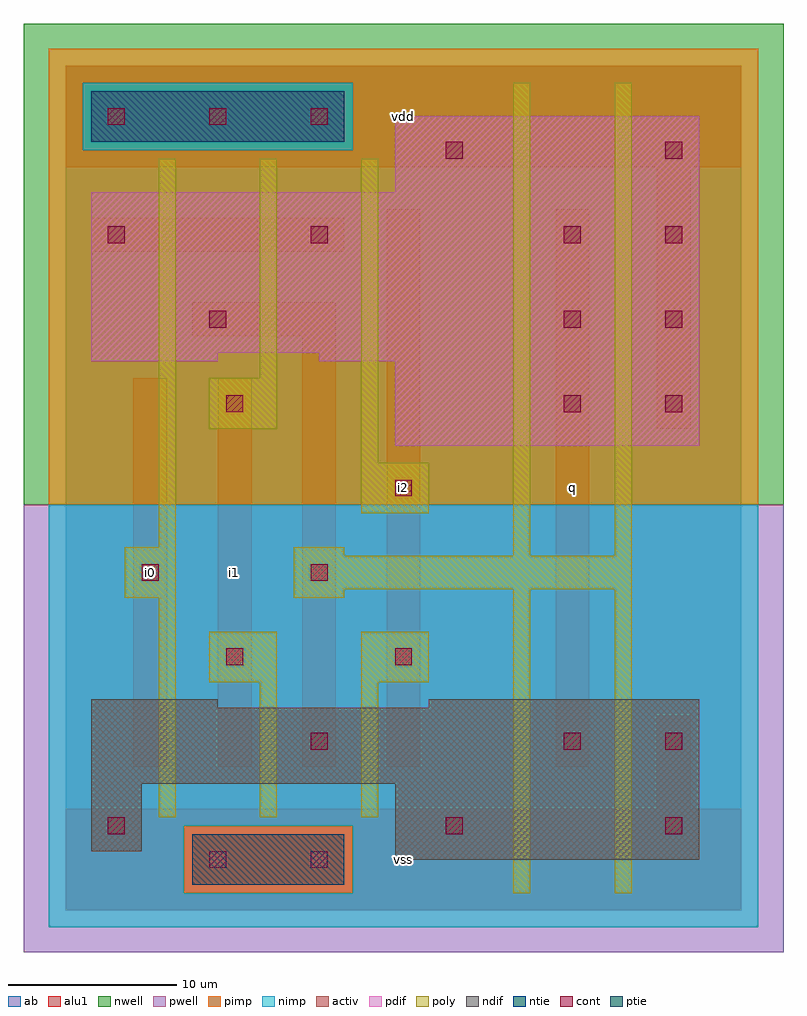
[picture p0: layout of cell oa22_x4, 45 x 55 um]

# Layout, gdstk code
import gdstk
lib = gdstk.Library(unit=1e-6, precision=1e-09)
def R(c, l, rs):  # rectangles x0, y0, x1, y1
    for r in rs: c.add(gdstk.rectangle(r[:2], r[2:], *l))
def A(c, l, x, y, w, h, nx, ny, dx, dy):  # array of equal rectangles
    R(c, l, [(x+i*dx, y+j*dy, x+i*dx+w, y+j*dy+h) for i in range(nx) for j in range(ny)])
ndif = (3, 0)
pdif = (4, 0)
ntie = (5, 0)
ptie = (6, 0)
cont = (25, 0)
pwell = (41, 0)
nwell = (42, 0)
activ = (43, 0)
pimp = (44, 0)
nimp = (45, 0)
poly = (46, 0)
alu1 = (49, 0)
ab = (63, 0)

oa22_x4 = lib.new_cell('oa22_x4')
R(oa22_x4, ndif, [(19.5,3,37.5,7.5), (1.5,3.5,4.5,7.5), (1.5,7.5,37.5,12), (1.5,12,9,12.5), (21.5,12,37.5,12.5)])
R(oa22_x4, pdif, [(19.5,27.5,37.5,32.5), (1.5,32.5,9,33), (15,32.5,37.5,33), (1.5,33,37.5,42.5), (19.5,42.5,37.5,47)])
R(oa22_x4, ntie, [(1.5,45.5,16.5,48.5)])
R(oa22_x4, ptie, [(7.5,1.5,16.5,4.5)])
A(oa22_x4, cont, 29.5, 29.5, 1, 1, 1, 3, 0, 5)
A(oa22_x4, cont, 35.5, 29.5, 1, 1, 1, 4, 0, 5)
A(oa22_x4, cont, 2.5, 46.5, 1, 1, 3, 1, 6, 0)
R(oa22_x4, cont, [(8.5,2.5,9.5,3.5), (14.5,2.5,15.5,3.5), (2.5,4.5,3.5,5.5), (22.5,4.5,23.5,5.5), (35.5,4.5,36.5,5.5), (14.5,9.5,15.5,10.5), (29.5,9.5,30.5,10.5), (35.5,9.5,36.5,10.5), (9.5,14.5,10.5,15.5), (19.5,14.5,20.5,15.5), (4.5,19.5,5.5,20.5), (14.5,19.5,15.5,20.5), (19.5,24.5,20.5,25.5), (9.5,29.5,10.5,30.5), (8.5,34.5,9.5,35.5), (2.5,39.5,3.5,40.5), (14.5,39.5,15.5,40.5), (22.5,44.5,23.5,45.5)])
R(oa22_x4, pwell, [(-2.5,-2.5,42.5,24)])
R(oa22_x4, nwell, [(-2.5,24,42.5,52.5)])
R(oa22_x4, activ, [(7.5,1.5,16.5,4.5), (19.5,3,37.5,7.5), (1.5,3.5,4.5,7.5), (1.5,7.5,37.5,12), (1.5,12,9,12.5), (21.5,12,37.5,12.5), (19.5,27.5,37.5,32.5), (1.5,32.5,9,33), (15,32.5,37.5,33), (1.5,33,37.5,42.5), (19.5,42.5,37.5,47), (1.5,45.5,16.5,48.5)])
R(oa22_x4, pimp, [(7,1,17,5), (-1,24,41,45), (-1,45,1,49), (17,45,41,49), (-1,49,41,51)])
R(oa22_x4, nimp, [(-1,-1,41,1), (-1,1,7,5), (17,1,41,5), (-1,5,41,24), (1,45,17,49)])
R(oa22_x4, poly, [(26.5,1,27.5,19), (32.5,1,33.5,19), (5.5,5.5,6.5,18.5), (11.5,5.5,12.5,13.5), (17.5,5.5,18.5,13.5), (8.5,13.5,12.5,16.5), (17.5,13.5,21.5,16.5), (3.5,18.5,6.5,21.5), (13.5,18.5,16.5,19), (13.5,19,33.5,21), (13.5,21,16.5,21.5), (26.5,21,27.5,49), (32.5,21,33.5,49), (5.5,21.5,6.5,44.5), (17.5,23.5,21.5,26.5), (17.5,26.5,18.5,44.5), (8.5,28.5,12.5,31.5), (11.5,31.5,12.5,44.5)])
R(oa22_x4, alu1, [(0,0,40,6), (0,0,40,6), (35,6,37,11.5), (35,6,37,11.5), (4,8.5,6,31.5), (4,8.5,6,31.5), (9,8.5,11,31.5), (9,8.5,11,31.5), (14,8.5,16,34), (14,8.5,16,34), (19,8.5,21,41.5), (19,8.5,21,41.5), (29,8.5,31,41.5), (29,8.5,31,41.5), (35,28.5,37,44), (35,28.5,37,44), (7.5,34,16,36), (7.5,34,16,36), (1.5,39,16.5,41), (1.5,39,16.5,41), (0,44,40,50), (0,44,40,50)])
R(oa22_x4, ab, [(0,0,40,50)])
oa22_x4.add(gdstk.Label('i0', (5,20), layer=49, texttype=0))
oa22_x4.add(gdstk.Label('i1', (10,20), layer=49, texttype=0))
oa22_x4.add(gdstk.Label('vss', (20,3), layer=49, texttype=0))
oa22_x4.add(gdstk.Label('i2', (20,25), layer=49, texttype=0))
oa22_x4.add(gdstk.Label('vdd', (20,47), layer=49, texttype=0))
oa22_x4.add(gdstk.Label('q', (30,25), layer=49, texttype=0))

lib.write_gds('oa22_x4.gds')
